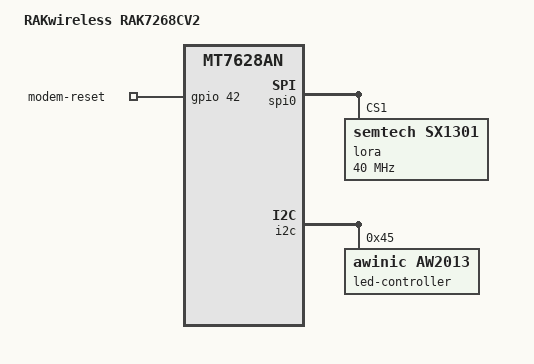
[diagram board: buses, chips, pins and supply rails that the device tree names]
// SPDX-License-Identifier: GPL-2.0-or-later OR MIT

#include "mt7628an_rakwireless_rak636.dtsi"

/ {
	compatible = "rakwireless,rak7268cv2", "mediatek,mt7628an-soc";
	model = "RAKwireless RAK7268CV2";

	gpio-export {
		compatible = "gpio-export";

		/* Quectel EG95 reset: pulse high, the vendor firmware for 1 s. */
		modem-reset {
			gpio-export,name = "modem-reset";
			gpio-export,output = <0>;
			gpios = <&gpio 42 GPIO_ACTIVE_HIGH>;
		};
	};
};

&spi0 {
	pinctrl-0 = <&spi_pins>, <&spi_cs1_pins>;

	/*
	 * SX1302 LoRa concentrator, driven from userspace by Semtech's HAL;
	 * spidev binds "semtech,sx1301". Its reset is GPIO 11.
	 */
	lora@1 {
		compatible = "semtech,sx1301";
		reg = <1>;
		spi-max-frequency = <40000000>;
	};
};

&i2c {
	status = "okay";

	/* The RGB status light on the top of the case. */
	led-controller@45 {
		compatible = "awinic,aw2013";
		reg = <0x45>;
		#address-cells = <1>;
		#size-cells = <0>;

		led@0 {
			reg = <0>;
			color = <LED_COLOR_ID_RED>;
			function = LED_FUNCTION_STATUS;
			led-max-microamp = <15000>;
		};

		led@1 {
			reg = <1>;
			color = <LED_COLOR_ID_GREEN>;
			function = LED_FUNCTION_STATUS;
			led-max-microamp = <15000>;
		};

		led@2 {
			reg = <2>;
			color = <LED_COLOR_ID_BLUE>;
			function = LED_FUNCTION_STATUS;
			led-max-microamp = <15000>;
		};
	};
};
